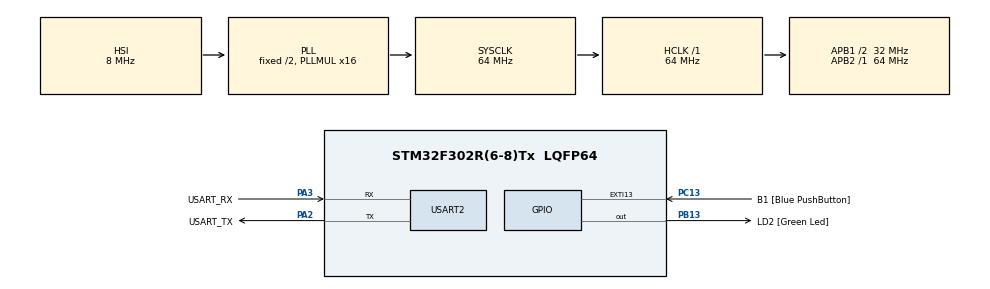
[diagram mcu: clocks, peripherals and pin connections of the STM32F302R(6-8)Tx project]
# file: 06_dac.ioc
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Mcu.Family=STM32F3
Mcu.Name=STM32F302R(6-8)Tx
Mcu.Package=LQFP64
NVIC.PriorityGroup=NVIC_PRIORITYGROUP_0
PA13.GPIO_Label=TMS
PA13.Mode=Serial_Wire
PA13.Signal=SYS_JTMS-SWDIO
PA14.GPIO_Label=TCK
PA14.Mode=Serial_Wire
PA14.Signal=SYS_JTCK-SWCLK
PA2.GPIO_Label=USART_TX
PA2.GPIO_Mode=GPIO_MODE_AF_PP
PA2.GPIO_PuPd=GPIO_NOPULL
PA2.GPIO_Speed=GPIO_SPEED_FREQ_LOW
PA2.Mode=Asynchronous
PA2.Signal=USART2_TX
PA3.GPIO_Label=USART_RX
PA3.GPIO_Mode=GPIO_MODE_AF_PP
PA3.GPIO_PuPd=GPIO_NOPULL
PA3.GPIO_Speed=GPIO_SPEED_FREQ_LOW
PA3.Mode=Asynchronous
PA3.Signal=USART2_RX
PB13.GPIO_Label=LD2 [Green Led]
PB13.Signal=GPIO_Output
PB3.GPIO_Label=SWO
PB3.Mode=Trace_Asynchronous_SW
PB3.Signal=SYS_JTDO-TRACESWO
PC13.GPIO_Label=B1 [Blue PushButton]
PC13.GPIO_ModeDefaultEXTI=GPIO_MODE_IT_FALLING
PC13.Signal=GPXTI13
PC14\ -\ OSC32_IN.Mode=LSE-External-Oscillator
PC14\ -\ OSC32_IN.Signal=RCC_OSC32_IN
PC15\ -\ OSC32_OUT.Mode=LSE-External-Oscillator
PC15\ -\ OSC32_OUT.Signal=RCC_OSC32_OUT
PF0-OSC_IN.Mode=HSE-External-Clock-Source
PF0-OSC_IN.Signal=RCC_OSC_IN
PF1-OSC_OUT.Signal=RCC_OSC_OUT
ProjectManager.HeapSize=0x200
ProjectManager.StackSize=0x400
ProjectManager.TargetToolchain=STM32CubeIDE
RCC.AHBFreq_Value=64000000
RCC.APB1CLKDivider=RCC_HCLK_DIV2
RCC.APB1Freq_Value=32000000
RCC.APB1TimFreq_Value=64000000
RCC.APB2Freq_Value=64000000
RCC.APB2TimFreq_Value=64000000
RCC.CortexFreq_Value=64000000
RCC.HCLKFreq_Value=64000000
RCC.HSE_VALUE=8000000
RCC.HSI_VALUE=8000000
RCC.PLLM=8
RCC.PLLMUL=RCC_PLL_MUL16
RCC.PLLN=336
RCC.PLLP=RCC_PLLP_DIV4
RCC.PLLQ=7
RCC.RCC_PLLsource_Clock_Source_FROM_HSE=RCC_HSE_PREDIV_DIV2
RCC.SYSCLKFreq_VALUE=64000000
RCC.SYSCLKSourceVirtual=RCC_SYSCLKSOURCE_PLLCLK
RCC.USBFreq_Value=64000000
USART2.VirtualMode-Asynchronous=VM_ASYNC
board=NUCLEO-F302R8

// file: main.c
/* USER CODE BEGIN Header */
/**
  ******************************************************************************
  * @file           : main.c
  * @brief          : Main program body
  ******************************************************************************
  * @attention
  *
  * Copyright (c) 2023 STMicroelectronics.
  * All rights reserved.
  *
  * This software is licensed under terms that can be found in the LICENSE file
  * in the root directory of this software component.
  * If no LICENSE file comes with this software, it is provided AS-IS.
  *
  ******************************************************************************
  */
/* USER CODE END Header */
#include "main.h"

/* USER CODE BEGIN Includes */
#include "address.h"
/* USER CODE END Includes */

UART_HandleTypeDef huart2;

void SystemClock_Config(void);
static void MX_GPIO_Init(void);
static void MX_USART2_UART_Init(void);

int main(void)
{

  /* MCU Configuration--------------------------------------------------------*/

  /* Reset of all peripherals, Initializes the Flash interface and the Systick. */
  HAL_Init();

  /* Configure the system clock */
  SystemClock_Config();

  /* Initialize all configured peripherals */
  MX_GPIO_Init();
  MX_USART2_UART_Init();
  /* USER CODE BEGIN 2 */

  unsigned long int *p;
  unsigned long int *p2 = DAC1my + DAC_SR_off;
  unsigned long int i=0,j;

  p = RCCmy + RCC_APB1ENR_off;
  *p = *p | RCC_EN_APB1;
  p = RCCmy + RCC_AHBENR_off;
  *p = *p | RCC_EN_AHB;

  /*GPIO enabling analog mode and setting no pull up pull down mode*/
  p = aGPIOA + MODER_off;
  *p = (*p|ANALOG_EN_4); //enabling PA4 pin to analog
  p = aGPIOA + GPIO_PUPDR_off;
  *p = *p | GPIO_PUPDR_None;

  p = DAC1my + DAC_CR_off;

  j = (*p | DAC_ch1_EN | DAC_MAMP1) & DAC_BOFF1_DISABLE;
  *p = j;
  p = DAC1my + DAC_DHR12R1;

  /* USER CODE END 2 */

  /* Infinite loop */
  while (1)
  {
	  while(1){
		  *p = i;
//		  j=*p;
		  i+=60UL;
		  HAL_Delay(1);
		  if((i > 4000UL)) break; //breaks if the
//status register says under run error or if max value is reached
	  }
	  while(1){
	  		  *p = i;
	  		  i-=60UL;
			  HAL_Delay(1);
	  		  if((i < 90UL)) break; //breaks if the
	  //status register says under run error or if max value is reached
	  	  }

  }
}

void SystemClock_Config(void)
{
  RCC_OscInitTypeDef RCC_OscInitStruct = {0};
  RCC_ClkInitTypeDef RCC_ClkInitStruct = {0};

  /** Initializes the RCC Oscillators according to the specified parameters
  * in the RCC_OscInitTypeDef structure.
  */
  RCC_OscInitStruct.OscillatorType = RCC_OSCILLATORTYPE_HSI;
  RCC_OscInitStruct.HSIState = RCC_HSI_ON;
  RCC_OscInitStruct.HSICalibrationValue = RCC_HSICALIBRATION_DEFAULT;
  RCC_OscInitStruct.PLL.PLLState = RCC_PLL_ON;
  RCC_OscInitStruct.PLL.PLLSource = RCC_PLLSOURCE_HSI;
  RCC_OscInitStruct.PLL.PLLMUL = RCC_PLL_MUL16;
  if (HAL_RCC_OscConfig(&RCC_OscInitStruct) != HAL_OK)
  {
    Error_Handler();
  }

  /** Initializes the CPU, AHB and APB buses clocks
  */
  RCC_ClkInitStruct.ClockType = RCC_CLOCKTYPE_HCLK|RCC_CLOCKTYPE_SYSCLK
                              |RCC_CLOCKTYPE_PCLK1|RCC_CLOCKTYPE_PCLK2;
  RCC_ClkInitStruct.SYSCLKSource = RCC_SYSCLKSOURCE_PLLCLK;
  RCC_ClkInitStruct.AHBCLKDivider = RCC_SYSCLK_DIV1;
  RCC_ClkInitStruct.APB1CLKDivider = RCC_HCLK_DIV2;
  RCC_ClkInitStruct.APB2CLKDivider = RCC_HCLK_DIV1;

  if (HAL_RCC_ClockConfig(&RCC_ClkInitStruct, FLASH_LATENCY_2) != HAL_OK)
  {
    Error_Handler();
  }
}

static void MX_USART2_UART_Init(void)
{

  huart2.Instance = USART2;
  huart2.Init.BaudRate = 38400;
  huart2.Init.WordLength = UART_WORDLENGTH_8B;
  huart2.Init.StopBits = UART_STOPBITS_1;
  huart2.Init.Parity = UART_PARITY_NONE;
  huart2.Init.Mode = UART_MODE_TX_RX;
  huart2.Init.HwFlowCtl = UART_HWCONTROL_NONE;
  huart2.Init.OverSampling = UART_OVERSAMPLING_16;
  huart2.Init.OneBitSampling = UART_ONE_BIT_SAMPLE_DISABLE;
  huart2.AdvancedInit.AdvFeatureInit = UART_ADVFEATURE_NO_INIT;
  if (HAL_UART_Init(&huart2) != HAL_OK)
  {
    Error_Handler();
  }

}

static void MX_GPIO_Init(void)
{
  GPIO_InitTypeDef GPIO_InitStruct = {0};

  /* GPIO Ports Clock Enable */
  __HAL_RCC_GPIOC_CLK_ENABLE();
  __HAL_RCC_GPIOF_CLK_ENABLE();
  __HAL_RCC_GPIOA_CLK_ENABLE();
  __HAL_RCC_GPIOB_CLK_ENABLE();

  /*Configure GPIO pin Output Level */
  HAL_GPIO_WritePin(LD2_GPIO_Port, LD2_Pin, GPIO_PIN_RESET);

  /*Configure GPIO pin : B1_Pin */
  GPIO_InitStruct.Pin = B1_Pin;
  GPIO_InitStruct.Mode = GPIO_MODE_IT_FALLING;
  GPIO_InitStruct.Pull = GPIO_NOPULL;
  HAL_GPIO_Init(B1_GPIO_Port, &GPIO_InitStruct);

  /*Configure GPIO pin : LD2_Pin */
  GPIO_InitStruct.Pin = LD2_Pin;
  GPIO_InitStruct.Mode = GPIO_MODE_OUTPUT_PP;
  GPIO_InitStruct.Pull = GPIO_NOPULL;
  GPIO_InitStruct.Speed = GPIO_SPEED_FREQ_LOW;
  HAL_GPIO_Init(LD2_GPIO_Port, &GPIO_InitStruct);

}

void Error_Handler(void)
{
  __disable_irq();
  while (1)
  {
  }
}
